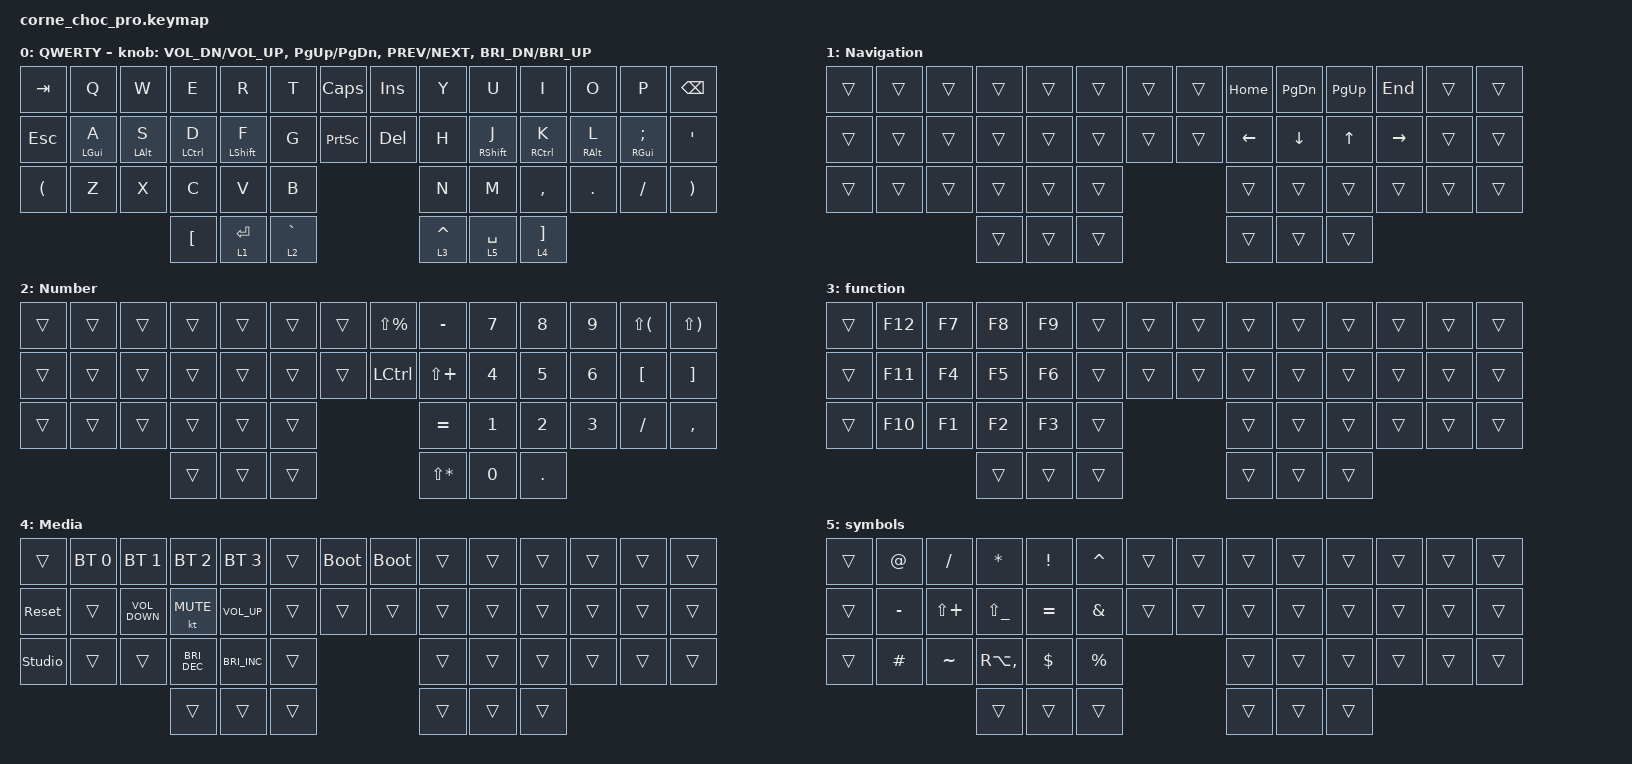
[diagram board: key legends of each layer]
/*
 * Copyright (c) 2020 The ZMK Contributors
 *
 * SPDX-License-Identifier: MIT
 */

#include <behaviors.dtsi>
#include <dt-bindings/zmk/bt.h>
#include <dt-bindings/zmk/keys.h>

/ {
    chosen { zmk,physical-layout = &default_layout; };
};

/ {
    behaviors {
        homerow_mods: homerow_mods {
            compatible = "zmk,behavior-hold-tap";
            label = "HOMEROW_MODS";
            bindings = <&kp>, <&kp>;

            #binding-cells = <2>;
            tapping-term-ms = <200>;
            quick-tap-ms = <150>;
            flavor = "balanced";
        };
    };

    keymap {
        compatible = "zmk,keymap";

        default_layer {
            display-name = "QWERTY";

            // --------------------------------------------------------------------------------
            // |  TAB |  Q  |  W  |  E  |  R  |  T  |  MUTE |  PP   |  Y  |  U   |  I  |  O  |  P  | BSPC |
            // | CTRL |  A  |  S  |  D  |  F  |  G  |  LALT |  RALT |  H  |  J   |  K  |  L  |  ;  |  '   |
            // | SHFT |  Z  |  X  |  C  |  V  |  B  |               |  N  |  M   |  ,  |  .  |  /  | ESC  |
            //                    | GUI | LWR | SPC |               | ENT | RSE  | ALT |

            bindings = <
&kp TAB               &kp Q                     &kp W                     &kp E                  &kp R                       &kp T        &kp CAPSLOCK     &kp INSERT  &kp Y        &kp U                        &kp I                          &kp O                      &kp P                              &kp BSPC
&kp ESC               &homerow_mods LEFT_GUI A  &homerow_mods LEFT_ALT S  &homerow_mods LCTRL D  &homerow_mods LEFT_SHIFT F  &kp G        &kp PRINTSCREEN  &kp DEL     &kp H        &homerow_mods RIGHT_SHIFT J  &homerow_mods RIGHT_CONTROL K  &homerow_mods RIGHT_ALT L  &homerow_mods RIGHT_GUI SEMICOLON  &kp SQT
&kp LEFT_PARENTHESIS  &kp Z                     &kp X                     &kp C                  &kp V                       &kp B                                     &kp N        &kp M                        &kp COMMA                      &kp DOT                    &kp FSLH                           &kp RIGHT_PARENTHESIS
                                                                          &kp LEFT_BRACKET       &lt 1 ENTER                 &lt 2 GRAVE                               &lt 3 CARET  &lt 5 SPACE                  &lt 4 RIGHT_BRACKET
            >;

            sensor-bindings = <&inc_dec_kp C_VOL_DN C_VOL_UP &inc_dec_kp PG_UP PG_DN &inc_dec_kp C_PREV C_NEXT &inc_dec_kp C_BRI_DN C_BRI_UP>;
        };

        navigation {
            display-name = "Navigation";
            bindings = <
&trans  &trans  &trans  &trans  &trans  &trans  &trans  &trans  &kp HOME  &kp PG_DN  &kp PG_UP  &kp END    &trans  &trans
&trans  &trans  &trans  &trans  &trans  &trans  &trans  &trans  &kp LEFT  &kp DOWN   &kp UP     &kp RIGHT  &trans  &trans
&trans  &trans  &trans  &trans  &trans  &trans                  &trans    &trans     &trans     &trans     &trans  &trans
                        &trans  &trans  &trans                  &trans    &trans     &trans
            >;
        };

        number {
            display-name = "Number";
            bindings = <
&trans  &trans  &trans  &trans  &trans  &trans  &trans  &kp LS(PRCNT)  &kp MINUS     &kp N7  &kp N8   &kp N9  &kp LS(LPAR)  &kp LS(RPAR)
&trans  &trans  &trans  &trans  &trans  &trans  &trans  &kp LCTRL      &kp LS(PLUS)  &kp N4  &kp N5   &kp N6  &kp LBKT      &kp RBKT
&trans  &trans  &trans  &trans  &trans  &trans                         &kp EQUAL     &kp N1  &kp N2   &kp N3  &kp FSLH      &kp COMMA
                        &trans  &trans  &trans                         &kp LS(STAR)  &kp N0  &kp DOT
            >;
        };

        function {
            display-name = "function";
            bindings = <
&trans  &kp F12  &kp F7  &kp F8  &kp F9  &trans  &trans  &trans  &trans  &trans  &trans  &trans  &trans  &trans
&trans  &kp F11  &kp F4  &kp F5  &kp F6  &trans  &trans  &trans  &trans  &trans  &trans  &trans  &trans  &trans
&trans  &kp F10  &kp F1  &kp F2  &kp F3  &trans                  &trans  &trans  &trans  &trans  &trans  &trans
                         &trans  &trans  &trans                  &trans  &trans  &trans
            >;
        };

        media {
            display-name = "Media";
            bindings = <
&trans          &bt BT_SEL 0  &bt BT_SEL 1       &bt BT_SEL 2          &bt BT_SEL 3          &trans  &bootloader  &bootloader  &trans  &trans  &trans  &trans  &trans  &trans
&sys_reset      &trans        &kp C_VOLUME_DOWN  &kt K_MUTE            &kp C_VOLUME_UP       &trans  &trans       &trans       &trans  &trans  &trans  &trans  &trans  &trans
&studio_unlock  &trans        &trans             &kp C_BRIGHTNESS_DEC  &kp C_BRIGHTNESS_INC  &trans                            &trans  &trans  &trans  &trans  &trans  &trans
                                                 &trans                &trans                &trans                            &trans  &trans  &trans
            >;
        };

        symbols {
            display-name = "symbols";
            bindings = <
&trans  &kp AT_SIGN  &kp SLASH     &kp ASTERISK   &kp EXCLAMATION  &kp CARET      &trans  &trans  &trans  &trans  &trans  &trans  &trans  &trans
&trans  &kp MINUS    &kp LS(PLUS)  &kp LS(UNDER)  &kp EQUAL        &kp AMPERSAND  &trans  &trans  &trans  &trans  &trans  &trans  &trans  &trans
&trans  &kp HASH     &kp TILDE     &kp RA(COMMA)  &kp DOLLAR       &kp PERCENT                    &trans  &trans  &trans  &trans  &trans  &trans
                                   &trans         &trans           &trans                         &trans  &trans  &trans
            >;
        };
    };
};
